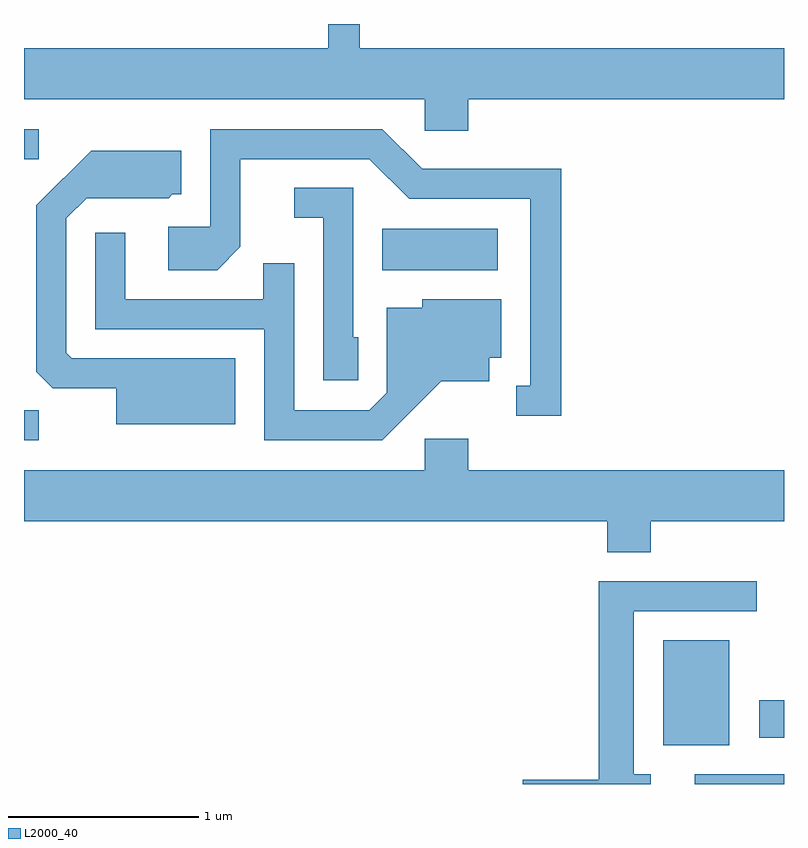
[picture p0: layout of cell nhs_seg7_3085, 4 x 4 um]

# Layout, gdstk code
import gdstk
lib = gdstk.Library(unit=1e-6, precision=1e-09)
def R(c, l, rs):  # rectangles x0, y0, x1, y1
    for r in rs: c.add(gdstk.rectangle(r[:2], r[2:], *l))
def P(c, l, *ps):  # polygons
    for p in ps: c.add(gdstk.Polygon(p, *l))
L2000_40 = (2000, 40)

nhs_seg7_3085 = lib.new_cell('nhs_seg7_3085')
R(nhs_seg7_3085, L2000_40, [(283.141,1726.252,283.611,1726.304), (282.976,1726.456,283.324,1727.009), (283.481,1726.496,283.611,1726.694), (279.611,1728.061,279.688,1728.219), (281.496,1728.956,282.104,1729.174), (279.611,1729.541,279.688,1729.699)])
P(nhs_seg7_3085, L2000_40, [(281.949,1729.856),(283.611,1729.856),(283.611,1730.124),(281.379,1730.124),(281.379,1730.252),(281.211,1730.252),(281.211,1730.124),(279.611,1730.124),(279.611,1729.856),(281.721,1729.856),(281.721,1729.691),(281.949,1729.691)],
  [(282.439,1729.489),(281.707,1729.489),(281.497,1729.699),(280.591,1729.699),(280.591,1729.184),(280.371,1729.184),(280.371,1728.956),(280.627,1728.956),(280.749,1729.079),(280.749,1729.541),(281.429,1729.541),(281.639,1729.331),(282.276,1729.331),(282.276,1728.349),(282.203,1728.349),(282.203,1728.191),(282.439,1728.191)],
  [(280.724,1728.494),(279.862,1728.494),(279.834,1728.522),(279.834,1729.229),(279.942,1729.336),(280.372,1729.336),(280.392,1729.356),(280.439,1729.356),(280.439,1729.584),(279.964,1729.584),(279.676,1729.297),(279.676,1728.422),(279.762,1728.336),(280.096,1728.336),(280.096,1728.146),(280.724,1728.146)],
  [(281.369,1728.604),(281.344,1728.604),(281.344,1729.389),(281.033,1729.389),(281.033,1729.231),(281.186,1729.231),(281.186,1728.376),(281.369,1728.376)],
  [(281.807,1728.371),(282.059,1728.371),(282.059,1728.496),(282.124,1728.496),(282.124,1728.804),(281.706,1728.804),(281.706,1728.759),(281.521,1728.759),(281.521,1728.312),(281.429,1728.219),(281.034,1728.219),(281.034,1728.993),(280.871,1728.993),(280.871,1728.804),(280.144,1728.804),(280.144,1729.153),(279.986,1729.153),(279.986,1728.646),(280.876,1728.646),(280.876,1728.061),(281.497,1728.061)],
  [(282.909,1727.636),(283.611,1727.636),(283.611,1727.904),(281.949,1727.904),(281.949,1728.069),(281.721,1728.069),(281.721,1727.904),(279.611,1727.904),(279.611,1727.636),(282.681,1727.636),(282.681,1727.471),(282.909,1727.471)],
  [(282.909,1726.304),(282.819,1726.304),(282.819,1727.161),(283.468,1727.161),(283.468,1727.319),(282.636,1727.319),(282.636,1726.274),(282.236,1726.274),(282.236,1726.252),(282.909,1726.252)])

lib.write_gds('nhs_seg7_3085.gds')
